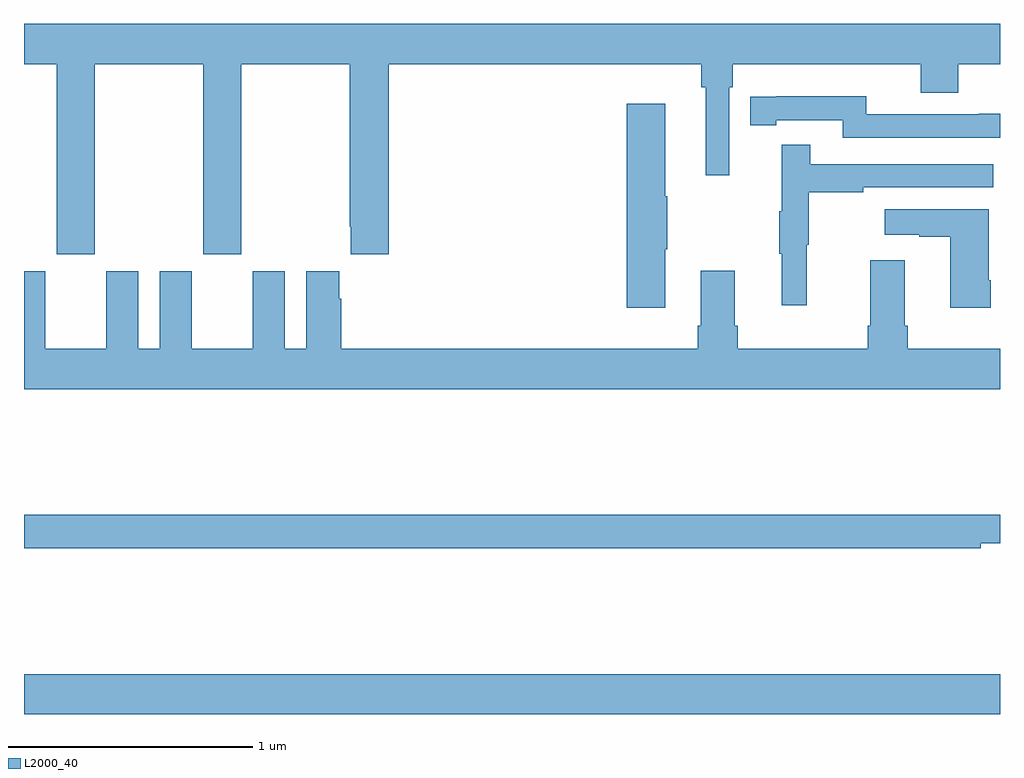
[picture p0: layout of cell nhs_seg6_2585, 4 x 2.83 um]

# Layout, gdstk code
import gdstk
lib = gdstk.Library(unit=1e-6, precision=1e-09)
def R(c, l, rs):  # rectangles x0, y0, x1, y1
    for r in rs: c.add(gdstk.rectangle(r[:2], r[2:], *l))
def P(c, l, *ps):  # polygons
    for p in ps: c.add(gdstk.Polygon(p, *l))
L2000_40 = (2000, 40)

nhs_seg6_2585 = lib.new_cell('nhs_seg6_2585')
R(nhs_seg6_2585, L2000_40, [(265,938.012,269,938.176)])
P(nhs_seg6_2585, L2000_40, [(265.29,940.676),(265.735,940.676),(265.735,939.897),(265.89,939.897),(265.89,940.676),(266.335,940.676),(266.335,940.009),(266.339,940.009),(266.339,939.897),(266.495,939.897),(266.495,940.676),(267.775,940.676),(267.775,940.58),(267.794,940.58),(267.794,940.221),(267.891,940.221),(267.891,940.58),(267.905,940.58),(267.905,940.676),(268.676,940.676),(268.676,940.559),(268.829,940.559),(268.829,940.676),(269,940.676),(269,940.84),(265,940.84),(265,940.676),(265.135,940.676),(265.135,939.897),(265.29,939.897)],
  [(269,940.472),(268.912,940.472),(268.912,940.47),(268.452,940.47),(268.452,940.543),(268.084,940.543),(268.084,940.542),(267.976,940.542),(267.976,940.426),(268.084,940.426),(268.084,940.446),(268.356,940.446),(268.356,940.374),(269,940.374)],
  [(267.628,939.916),(267.636,939.916),(267.636,940.133),(267.628,940.133),(267.628,940.513),(267.47,940.513),(267.47,939.678),(267.628,939.678)],
  [(268.208,939.936),(268.216,939.936),(268.216,940.15),(268.439,940.15),(268.439,940.17),(268.972,940.17),(268.972,940.266),(268.223,940.266),(268.223,940.345),(268.106,940.345),(268.106,940.073),(268.095,940.073),(268.095,939.899),(268.106,939.899),(268.106,939.687),(268.208,939.687)],
  [(268.962,939.79),(268.954,939.79),(268.954,940.081),(268.527,940.081),(268.527,939.977),(268.67,939.977),(268.67,939.967),(268.796,939.967),(268.796,939.678),(268.962,939.678)],
  [(267.773,939.829),(267.773,939.604),(267.761,939.604),(267.761,939.508),(266.3,939.508),(266.3,939.713),(266.293,939.713),(266.293,939.826),(266.156,939.826),(266.156,939.508),(266.068,939.508),(266.068,939.826),(265.937,939.826),(265.937,939.508),(265.687,939.508),(265.687,939.826),(265.556,939.826),(265.556,939.508),(265.468,939.508),(265.468,939.826),(265.337,939.826),(265.337,939.508),(265.087,939.508),(265.087,939.826),(265,939.826),(265,939.344),(269,939.344),(269,939.508),(268.622,939.508),(268.622,939.604),(268.609,939.604),(268.609,939.871),(268.469,939.871),(268.469,939.604),(268.457,939.604),(268.457,939.508),(267.926,939.508),(267.926,939.604),(267.913,939.604),(267.913,939.829)],
  [(268.922,938.712),(269,938.712),(269,938.828),(265,938.828),(265,938.692),(268.922,938.692)])

lib.write_gds('nhs_seg6_2585.gds')
